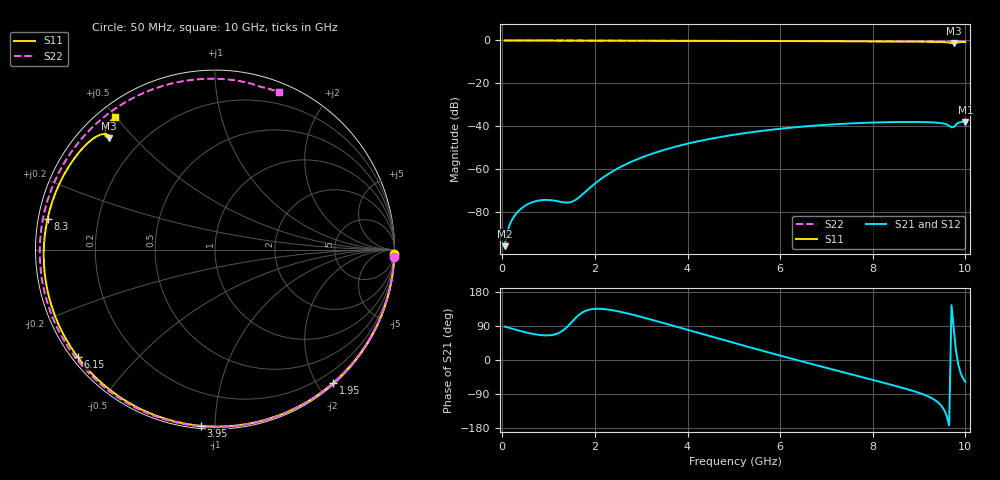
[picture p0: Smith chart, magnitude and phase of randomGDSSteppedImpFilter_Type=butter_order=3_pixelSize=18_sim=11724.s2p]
! freq	dB(S11)	phase(S11)	dB(S12)	phase(S12)
!  dB(S21)	phase(S21)	dB(S22)	phase(S22)
!S-par simulation data
#  GHz  S  DB  R 50
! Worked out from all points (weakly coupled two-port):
!   200 points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, 50 MHz to 10 GHz, reference 50 ohm
!   highest |S21| = -38.02 dB at 10 GHz (marker M1); lowest = -96.0 dB at 50 MHz (marker M2)
!   lowest |S11| = -1.3 dB at 9.75 GHz (marker M3), VSWR 12.95, Z = 4.56 + j21.3 ohm
!   |S11| at or under -10 dB: nowhere
!   |S22| runs from -0.5 to 0.0 dB; largest |S21 - S12| = 0
!   S11 on the Smith chart (normalised r, x): 50 MHz: 0, -89; 1.95 GHz: 0.02, -2.22; 3.95 GHz: 0.01, -0.92; 6.15 GHz: 0.02, -0.35; 8.3 GHz: 0.03, +0.09; 10 GHz: 0.05, +0.50
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0.05  -0.00 -1.3  -96.05 88.3  -96.05 88.3  -0.00 -2.4
0.3  -0.01 -7.6  -80.85 79.5  -80.85 79.5  -0.02 -14.0
0.6  -0.02 -15.2  -75.95 70.3  -75.95 70.3  -0.04 -27.8
0.95  -0.03 -23.9  -74.45 64.9  -74.45 64.9  -0.05 -43.5
1.45  -0.05 -36.3  -75.60 93.5  -75.60 93.5  -0.08 -64.6
1.6  -0.05 -39.9  -74.19 113.0  -74.19 113.0  -0.08 -70.6
1.75  -0.06 -43.6  -71.54 126.8  -71.54 126.8  -0.09 -76.5
1.95  -0.06 -48.4  -67.73 134.5  -67.73 134.5  -0.10 -84.0
2.6  -0.08 -63.8  -58.55 125.9  -58.55 125.9  -0.12 -106.8
3.4  -0.11 -82.2  -51.72 100.3  -51.72 100.3  -0.14 -131.4
3.95  -0.13 -94.5  -48.46 81.3  -48.46 81.3  -0.16 -146.7
5.05  -0.18 -118.4  -43.87 43.5  -43.87 43.5  -0.20 -174.5
6.15  -0.25 -141.9  -40.89 6.7  -40.89 6.7  -0.25 159.7
6.7  -0.30 -153.8  -39.84 -11.2  -39.84 -11.2  -0.28 147.0
7.5  -0.37 -171.6  -38.76 -36.8  -38.76 -36.8  -0.33 128.5
8.3  -0.46 169.7  -38.16 -62.1  -38.16 -62.1  -0.38 109.6
8.35  -0.47 168.5  -38.14 -63.7  -38.14 -63.7  -0.38 108.4
8.95  -0.55 153.3  -38.08 -84.7  -38.08 -84.7  -0.42 93.8
9.5  -0.73 137.9  -38.67 -123.8  -38.67 -123.8  -0.46 80.1
9.75  -1.34 133.7  -40.40 80.4  -40.40 80.4  -0.52 74.1
9.85  -0.88 132.6  -38.40 -14.3  -38.40 -14.3  -0.49 71.7
10  -0.67 127.1  -38.02 -57.8  -38.02 -57.8  -0.48 67.8
